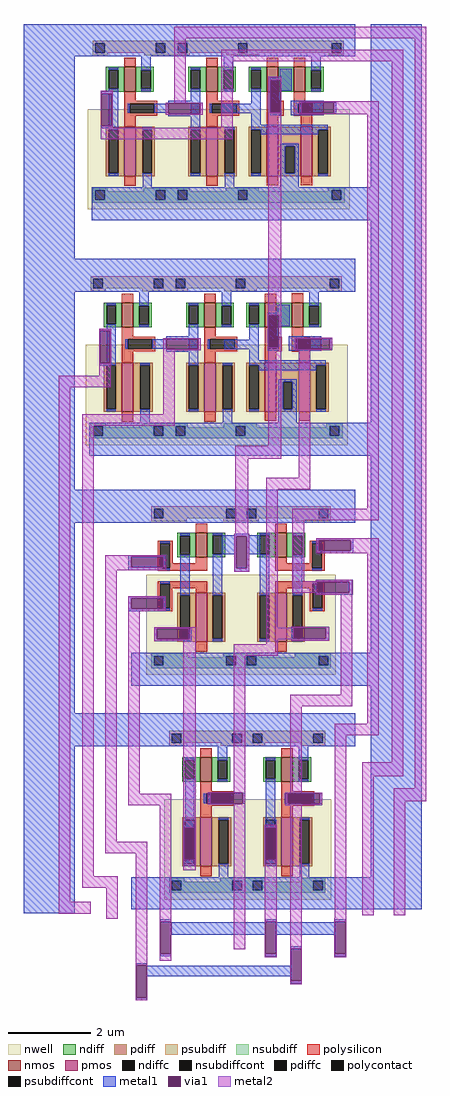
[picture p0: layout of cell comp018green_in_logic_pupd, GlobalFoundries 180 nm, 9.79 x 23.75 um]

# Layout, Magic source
magic
tech gf180mcuD
magscale 1 10
<< psubdiff >>
rect 1648 933 1682 1005
rect 1638 -214 1672 -142
rect 1990 -1333 2018 -1261
rect 2020 -2426 2048 -2354
<< nsubdiff >>
rect 1648 217 1682 289
rect 1638 -930 1672 -858
rect 1990 -2049 2018 -1977
rect 2020 -3142 2048 -3070
<< metal1 >>
rect 946 929 2560 1086
rect 946 -57 1194 929
rect 2145 812 2197 825
rect 1324 747 1376 759
rect 1649 700 1805 713
rect 1586 653 1649 699
rect 1910 652 2099 698
rect 1649 636 1805 648
rect 2145 643 2197 656
rect 2288 652 2299 704
rect 2455 652 2467 704
rect 1324 578 1376 591
rect 2636 292 2884 1086
rect 1277 131 2884 292
rect 946 -218 2560 -57
rect 946 -1181 1194 -218
rect 2136 -332 2188 -319
rect 1316 -408 1368 -396
rect 1639 -446 1795 -434
rect 1573 -494 1639 -448
rect 1921 -496 2089 -450
rect 1639 -510 1795 -498
rect 2136 -505 2188 -488
rect 2267 -498 2280 -446
rect 2436 -498 2448 -446
rect 1316 -577 1368 -564
rect 2636 -855 2884 131
rect 1266 -1016 2884 -855
rect 946 -1342 2560 -1181
rect 946 -2269 1194 -1342
rect 1971 -1402 2043 -1394
rect 1909 -1407 2098 -1402
rect 1909 -1494 1980 -1407
rect 1455 -1507 1636 -1500
rect 1455 -1559 1470 -1507
rect 1626 -1559 1636 -1507
rect 1455 -1573 1636 -1559
rect 1971 -1563 1980 -1494
rect 2032 -1494 2098 -1407
rect 2369 -1426 2550 -1416
rect 2369 -1478 2381 -1426
rect 2537 -1478 2550 -1426
rect 2369 -1489 2550 -1478
rect 2032 -1563 2043 -1494
rect 1971 -1579 2043 -1563
rect 2366 -1629 2547 -1619
rect 2366 -1681 2374 -1629
rect 2530 -1681 2547 -1629
rect 2366 -1692 2547 -1681
rect 1455 -1709 1636 -1700
rect 1455 -1761 1470 -1709
rect 1626 -1761 1636 -1709
rect 1455 -1773 1636 -1761
rect 1580 -1856 1763 -1850
rect 1580 -1908 1593 -1856
rect 1749 -1908 1763 -1856
rect 1580 -1918 1763 -1908
rect 2249 -1853 2433 -1847
rect 2249 -1905 2261 -1853
rect 2417 -1905 2433 -1853
rect 2249 -1915 2433 -1905
rect 2636 -1974 2884 -1016
rect 1470 -2135 2884 -1974
rect 946 -2430 2560 -2269
rect 946 -3243 1194 -2430
rect 1842 -2708 1855 -2656
rect 2011 -2708 2025 -2656
rect 2217 -2710 2230 -2658
rect 2386 -2710 2398 -2658
rect 1727 -2825 1779 -2793
rect 1727 -3011 1779 -2981
rect 2122 -2825 2174 -2786
rect 2122 -3011 2174 -2981
rect 2636 -3067 2884 -2135
rect 1470 -3223 2884 -3067
rect 1611 -3284 1663 -3272
rect 2122 -3284 2174 -3272
rect 1663 -3346 2122 -3285
rect 1611 -3452 1663 -3440
rect 2460 -3284 2512 -3272
rect 2174 -3346 2460 -3285
rect 2122 -3452 2174 -3440
rect 2246 -3414 2298 -3402
rect 1493 -3496 1545 -3484
rect 1545 -3549 2246 -3498
rect 2460 -3452 2512 -3440
rect 2246 -3582 2298 -3570
rect 1493 -3664 1545 -3652
<< via1 >>
rect 1324 591 1376 747
rect 1649 648 1805 700
rect 2145 656 2197 812
rect 2299 652 2455 704
rect 1316 -564 1368 -408
rect 1639 -498 1795 -446
rect 2136 -488 2188 -332
rect 2280 -498 2436 -446
rect 1470 -1559 1626 -1507
rect 1980 -1563 2032 -1407
rect 2381 -1478 2537 -1426
rect 2374 -1681 2530 -1629
rect 1470 -1761 1626 -1709
rect 1593 -1908 1749 -1856
rect 2261 -1905 2417 -1853
rect 1855 -2708 2011 -2656
rect 2230 -2710 2386 -2658
rect 1727 -2981 1779 -2825
rect 2122 -2981 2174 -2825
rect 1611 -3440 1663 -3284
rect 2122 -3440 2174 -3284
rect 1493 -3652 1545 -3496
rect 2246 -3570 2298 -3414
rect 2460 -3440 2512 -3284
<< metal2 >>
rect 1678 1017 2905 1073
rect 1320 747 1379 760
rect 1320 591 1324 747
rect 1376 591 1379 747
rect 1678 702 1734 1017
rect 1908 905 2793 961
rect 1636 700 1817 702
rect 1636 648 1649 700
rect 1805 648 1817 700
rect 1636 645 1817 648
rect 1320 582 1379 591
rect 1908 582 1964 905
rect 1320 526 1964 582
rect 2136 825 2199 829
rect 2136 812 2200 825
rect 2136 656 2145 812
rect 2197 656 2200 812
rect 2136 641 2200 656
rect 2286 704 2674 709
rect 2286 652 2299 704
rect 2455 652 2674 704
rect 2286 647 2674 652
rect 2136 -319 2199 641
rect 2133 -332 2199 -319
rect 1313 -408 1372 -396
rect 1313 -564 1316 -408
rect 1368 -564 1372 -408
rect 1313 -578 1372 -564
rect 1624 -446 1807 -443
rect 1624 -498 1639 -446
rect 1795 -498 1807 -446
rect 1624 -502 1807 -498
rect 2133 -488 2136 -332
rect 2188 -488 2199 -332
rect 1313 -625 1369 -578
rect 1117 -681 1369 -625
rect 1117 -3186 1173 -681
rect 1624 -813 1680 -502
rect 2133 -504 2199 -488
rect 2268 -446 2448 -442
rect 2268 -498 2280 -446
rect 2436 -498 2448 -446
rect 2268 -501 2448 -498
rect 1230 -869 1680 -813
rect 1230 -3061 1286 -869
rect 2136 -966 2199 -504
rect 1975 -1029 2199 -966
rect 1975 -1394 2038 -1029
rect 2284 -1123 2340 -501
rect 2126 -1179 2340 -1123
rect 1971 -1407 2043 -1394
rect 1342 -1507 1640 -1500
rect 1342 -1559 1470 -1507
rect 1626 -1559 1640 -1507
rect 1342 -1573 1640 -1559
rect 1971 -1563 1980 -1407
rect 2032 -1563 2043 -1407
rect 1342 -2893 1398 -1573
rect 1971 -1579 2043 -1563
rect 1455 -1709 1636 -1700
rect 1455 -1761 1470 -1709
rect 1626 -1761 1636 -1709
rect 1455 -1773 1636 -1761
rect 1455 -2660 1511 -1773
rect 1723 -1850 1783 -1849
rect 1580 -1856 1783 -1850
rect 1580 -1908 1593 -1856
rect 1749 -1908 1783 -1856
rect 1580 -1918 1783 -1908
rect 1455 -2716 1665 -2660
rect 1342 -2949 1547 -2893
rect 1230 -3117 1404 -3061
rect 1117 -3244 1272 -3186
rect 1348 -3269 1404 -3117
rect 1491 -3496 1547 -2949
rect 1609 -3284 1665 -2716
rect 1723 -2825 1783 -1918
rect 2126 -1853 2182 -1179
rect 2618 -1274 2674 647
rect 2254 -1330 2674 -1274
rect 2254 -1627 2310 -1330
rect 2369 -1426 2673 -1416
rect 2369 -1478 2381 -1426
rect 2537 -1478 2673 -1426
rect 2369 -1489 2673 -1478
rect 2366 -1627 2545 -1619
rect 2254 -1629 2545 -1627
rect 2254 -1681 2374 -1629
rect 2530 -1681 2545 -1629
rect 2254 -1683 2545 -1681
rect 2366 -1692 2545 -1683
rect 2249 -1853 2433 -1847
rect 2126 -1905 2261 -1853
rect 2417 -1905 2433 -1853
rect 2126 -1909 2433 -1905
rect 2126 -1932 2182 -1909
rect 2249 -1915 2433 -1909
rect 1969 -1988 2182 -1932
rect 1969 -2653 2025 -1988
rect 2489 -2178 2545 -1692
rect 1842 -2656 2025 -2653
rect 2244 -2234 2545 -2178
rect 2244 -2655 2300 -2234
rect 2617 -2319 2673 -1489
rect 2459 -2375 2673 -2319
rect 1842 -2708 1855 -2656
rect 2011 -2708 2025 -2656
rect 1842 -2712 2025 -2708
rect 1723 -2981 1727 -2825
rect 1779 -2981 1783 -2825
rect 1723 -3032 1783 -2981
rect 1609 -3440 1611 -3284
rect 1663 -3440 1665 -3284
rect 1969 -3416 2025 -2712
rect 2218 -2658 2398 -2655
rect 2218 -2710 2230 -2658
rect 2386 -2710 2398 -2658
rect 2218 -2715 2398 -2710
rect 2118 -2825 2178 -2810
rect 2118 -2981 2122 -2825
rect 2174 -2981 2178 -2825
rect 2118 -3284 2178 -2981
rect 1609 -3472 1665 -3440
rect 2118 -3440 2122 -3284
rect 2174 -3440 2178 -3284
rect 2118 -3455 2178 -3440
rect 2244 -3414 2300 -2715
rect 2459 -3265 2515 -2375
rect 2737 -2508 2793 905
rect 2594 -2574 2793 -2508
rect 2594 -3251 2650 -2574
rect 2849 -2633 2905 1017
rect 2746 -2697 2905 -2633
rect 2746 -3251 2802 -2697
rect 1491 -3652 1493 -3496
rect 1545 -3652 1547 -3496
rect 2244 -3570 2246 -3414
rect 2298 -3570 2300 -3414
rect 2456 -3284 2516 -3265
rect 2456 -3440 2460 -3284
rect 2512 -3440 2516 -3284
rect 2456 -3455 2516 -3440
rect 2244 -3587 2300 -3570
rect 1491 -3664 1547 -3652
use lv_inv  lv_inv_0
transform -1 0 18104 0 -1 50671
box 16038 50813 16457 51634
use lv_inv  lv_inv_1
transform -1 0 18114 0 -1 51818
box 16038 50813 16457 51634
use lv_inv  lv_inv_2
transform -1 0 18480 0 -1 48459
box 16038 50813 16457 51634
use lv_inv  lv_inv_3
transform -1 0 18086 0 -1 48459
box 16038 50813 16457 51634
use lv_inv  lv_inv_5
transform -1 0 17714 0 -1 51818
box 16038 50813 16457 51634
use lv_inv  lv_inv_7
transform -1 0 17704 0 -1 50671
box 16038 50813 16457 51634
use lv_nand  lv_nand_0
transform -1 0 19464 0 -1 51807
box 16932 50802 17513 51623
use lv_nand  lv_nand_4
transform -1 0 19454 0 -1 50660
box 16932 50802 17513 51623
use lv_passgate  lv_passgate_0
transform 1 0 -13799 0 -1 44483
box 15342 45744 15814 46565
use lv_passgate  lv_passgate_1
transform -1 0 17807 0 -1 44483
box 15342 45744 15814 46565
<< end >>

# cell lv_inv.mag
magic
tech gf180mcuD
magscale 1 10
<< nwell >>
rect 16038 51147 16457 51634
<< nmos >>
rect 16224 50941 16280 51061
<< pmos >>
rect 16224 51233 16280 51473
<< ndiff >>
rect 16135 51048 16224 51061
rect 16135 50956 16149 51048
rect 16195 50956 16224 51048
rect 16135 50941 16224 50956
rect 16280 51047 16368 51061
rect 16280 50955 16309 51047
rect 16355 50955 16368 51047
rect 16280 50941 16368 50955
<< pdiff >>
rect 16131 51459 16224 51473
rect 16131 51246 16144 51459
rect 16190 51246 16224 51459
rect 16131 51233 16224 51246
rect 16280 51459 16368 51473
rect 16280 51246 16309 51459
rect 16355 51246 16368 51459
rect 16280 51233 16368 51246
<< ndiffc >>
rect 16149 50956 16195 51048
rect 16309 50955 16355 51047
<< pdiffc >>
rect 16144 51246 16190 51459
rect 16309 51246 16355 51459
<< psubdiff >>
rect 16066 50872 16182 50885
rect 16360 50872 16432 50885
rect 16066 50826 16079 50872
rect 16125 50826 16373 50872
rect 16419 50826 16432 50872
rect 16066 50813 16432 50826
<< nsubdiff >>
rect 16066 51588 16432 51601
rect 16066 51542 16079 51588
rect 16125 51547 16373 51588
rect 16125 51542 16184 51547
rect 16066 51529 16184 51542
rect 16359 51542 16373 51547
rect 16419 51542 16432 51588
rect 16359 51529 16432 51542
<< psubdiffcont >>
rect 16079 50826 16125 50872
rect 16373 50826 16419 50872
<< nsubdiffcont >>
rect 16079 51542 16125 51588
rect 16373 51542 16419 51588
<< polysilicon >>
rect 16224 51473 16280 51520
rect 16224 51178 16280 51233
rect 16119 51165 16280 51178
rect 16119 51119 16132 51165
rect 16252 51119 16280 51165
rect 16119 51106 16280 51119
rect 16224 51061 16280 51106
rect 16224 50897 16280 50941
<< polycontact >>
rect 16132 51119 16252 51165
<< metal1 >>
rect 16066 51588 16432 51601
rect 16066 51542 16079 51588
rect 16125 51542 16373 51588
rect 16419 51542 16432 51588
rect 16066 51526 16432 51542
rect 16144 51459 16190 51526
rect 16144 51235 16190 51246
rect 16309 51459 16355 51470
rect 16121 51119 16132 51165
rect 16252 51119 16263 51165
rect 16149 51048 16195 51059
rect 16149 50889 16195 50956
rect 16309 51047 16355 51246
rect 16309 50944 16355 50955
rect 16066 50872 16432 50889
rect 16066 50826 16079 50872
rect 16125 50826 16373 50872
rect 16419 50826 16432 50872
rect 16066 50813 16432 50826
<< end >>

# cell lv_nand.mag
magic
tech gf180mcuD
magscale 1 10
<< nwell >>
rect 16932 51136 17513 51623
<< nmos >>
rect 17148 50930 17204 51050
rect 17280 50930 17336 51050
<< pmos >>
rect 17113 51222 17169 51462
rect 17280 51222 17336 51462
<< ndiff >>
rect 17059 51037 17148 51050
rect 17059 50945 17073 51037
rect 17119 50945 17148 51037
rect 17059 50930 17148 50945
rect 17204 50930 17280 51050
rect 17336 51036 17424 51050
rect 17336 50944 17365 51036
rect 17411 50944 17424 51036
rect 17336 50930 17424 50944
<< pdiff >>
rect 17024 51449 17113 51462
rect 17024 51236 17038 51449
rect 17084 51236 17113 51449
rect 17024 51222 17113 51236
rect 17169 51448 17280 51462
rect 17169 51315 17200 51448
rect 17246 51315 17280 51448
rect 17169 51222 17280 51315
rect 17336 51448 17424 51462
rect 17336 51235 17365 51448
rect 17411 51235 17424 51448
rect 17336 51222 17424 51235
<< ndiffc >>
rect 17073 50945 17119 51037
rect 17365 50944 17411 51036
<< pdiffc >>
rect 17038 51236 17084 51449
rect 17200 51315 17246 51448
rect 17365 51235 17411 51448
<< psubdiff >>
rect 16960 50861 17033 50874
rect 17375 50861 17488 50874
rect 16960 50815 16973 50861
rect 17019 50815 17429 50861
rect 17475 50815 17488 50861
rect 16960 50802 17488 50815
<< nsubdiff >>
rect 16956 51577 17488 51590
rect 16956 51531 16973 51577
rect 17019 51536 17429 51577
rect 17019 51531 17035 51536
rect 16956 51518 17035 51531
rect 17374 51531 17429 51536
rect 17475 51531 17488 51577
rect 17374 51518 17488 51531
<< psubdiffcont >>
rect 16973 50815 17019 50861
rect 17429 50815 17475 50861
<< nsubdiffcont >>
rect 16973 51531 17019 51577
rect 17429 51531 17475 51577
<< polysilicon >>
rect 17113 51462 17169 51506
rect 17280 51462 17336 51506
rect 17113 51168 17169 51222
rect 17113 51154 17204 51168
rect 17280 51167 17336 51222
rect 17113 51108 17132 51154
rect 17182 51108 17204 51154
rect 17113 51095 17204 51108
rect 17252 51154 17336 51167
rect 17252 51108 17268 51154
rect 17318 51108 17336 51154
rect 17252 51095 17336 51108
rect 17148 51050 17204 51095
rect 17280 51050 17336 51095
rect 17148 50885 17204 50930
rect 17280 50886 17336 50930
<< polycontact >>
rect 17132 51108 17182 51154
rect 17268 51108 17318 51154
<< metal1 >>
rect 16956 51577 17488 51590
rect 16956 51531 16973 51577
rect 17019 51531 17429 51577
rect 17475 51531 17488 51577
rect 16956 51515 17488 51531
rect 17038 51449 17084 51461
rect 17179 51448 17270 51515
rect 17179 51315 17200 51448
rect 17246 51315 17270 51448
rect 17179 51304 17270 51315
rect 17365 51448 17411 51459
rect 17084 51236 17365 51258
rect 17038 51235 17365 51236
rect 17038 51211 17411 51235
rect 17059 51154 17218 51165
rect 17059 51108 17132 51154
rect 17182 51108 17218 51154
rect 17059 51094 17218 51108
rect 17268 51154 17318 51165
rect 17073 51037 17119 51048
rect 17268 51046 17318 51108
rect 17073 50878 17119 50945
rect 17213 50983 17318 51046
rect 17365 51036 17411 51211
rect 17213 50940 17271 50983
rect 17365 50933 17411 50944
rect 16960 50861 17488 50878
rect 16960 50815 16973 50861
rect 17019 50815 17429 50861
rect 17475 50815 17488 50861
rect 16960 50802 17488 50815
<< end >>

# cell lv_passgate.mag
magic
tech gf180mcuD
magscale 1 10
<< nwell >>
rect 15342 46078 15814 46565
<< nmos >>
rect 15581 45872 15637 45992
<< pmos >>
rect 15581 46164 15637 46404
<< ndiff >>
rect 15492 45979 15581 45992
rect 15492 45887 15506 45979
rect 15552 45887 15581 45979
rect 15492 45872 15581 45887
rect 15637 45978 15725 45992
rect 15637 45886 15666 45978
rect 15712 45886 15725 45978
rect 15637 45872 15725 45886
<< pdiff >>
rect 15493 46390 15581 46404
rect 15493 46177 15506 46390
rect 15552 46177 15581 46390
rect 15493 46164 15581 46177
rect 15637 46390 15725 46404
rect 15637 46177 15666 46390
rect 15712 46177 15725 46390
rect 15637 46164 15725 46177
<< ndiffc >>
rect 15506 45887 15552 45979
rect 15666 45886 15712 45978
<< pdiffc >>
rect 15506 46177 15552 46390
rect 15666 46177 15712 46390
<< psubdiff >>
rect 15366 45803 15539 45816
rect 15717 45803 15789 45816
rect 15366 45757 15379 45803
rect 15425 45757 15730 45803
rect 15776 45757 15789 45803
rect 15366 45744 15789 45757
<< nsubdiff >>
rect 15366 46519 15789 46532
rect 15366 46473 15379 46519
rect 15425 46478 15730 46519
rect 15425 46473 15541 46478
rect 15366 46460 15541 46473
rect 15716 46473 15730 46478
rect 15776 46473 15789 46519
rect 15716 46460 15789 46473
<< psubdiffcont >>
rect 15379 45757 15425 45803
rect 15730 45757 15776 45803
<< nsubdiffcont >>
rect 15379 46473 15425 46519
rect 15730 46473 15776 46519
<< polysilicon >>
rect 15581 46404 15637 46451
rect 15396 46241 15468 46254
rect 15396 46121 15409 46241
rect 15455 46144 15468 46241
rect 15581 46144 15637 46164
rect 15455 46121 15637 46144
rect 15396 46108 15637 46121
rect 15397 46045 15637 46058
rect 15397 45925 15410 46045
rect 15456 46022 15637 46045
rect 15456 45925 15469 46022
rect 15581 45992 15637 46022
rect 15397 45912 15469 45925
rect 15581 45828 15637 45872
<< polycontact >>
rect 15409 46121 15455 46241
rect 15410 45925 15456 46045
<< metal1 >>
rect 15366 46519 15789 46532
rect 15366 46473 15379 46519
rect 15425 46473 15730 46519
rect 15776 46473 15789 46519
rect 15366 46457 15789 46473
rect 15506 46390 15552 46401
rect 15409 46241 15455 46252
rect 15409 46110 15455 46121
rect 15410 46045 15456 46056
rect 15410 45914 15456 45925
rect 15506 45979 15552 46177
rect 15506 45876 15552 45887
rect 15666 46390 15712 46401
rect 15666 45978 15712 46177
rect 15666 45875 15712 45886
rect 15366 45803 15789 45820
rect 15366 45757 15379 45803
rect 15425 45757 15730 45803
rect 15776 45757 15789 45803
rect 15366 45744 15789 45757
<< end >>
